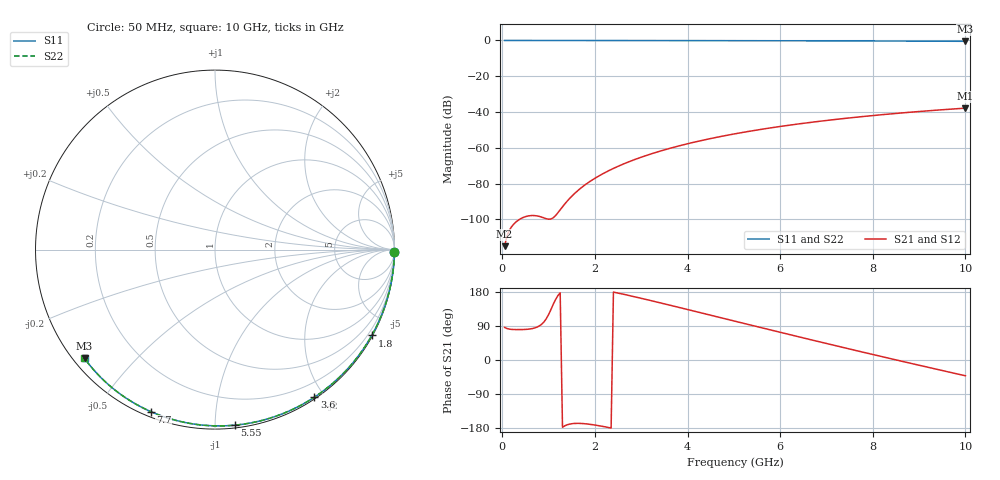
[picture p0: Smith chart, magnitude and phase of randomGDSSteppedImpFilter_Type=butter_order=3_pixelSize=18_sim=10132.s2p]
! freq	dB(S11)	phase(S11)	dB(S12)	phase(S12)
!  dB(S21)	phase(S21)	dB(S22)	phase(S22)
!S-par simulation data
#  GHz  S  DB  R 50
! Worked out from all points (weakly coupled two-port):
!   200 points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, 50 MHz to 10 GHz, reference 50 ohm
!   highest |S21| = -37.80 dB at 10 GHz (marker M1); lowest = -114.9 dB at 50 MHz (marker M2)
!   lowest |S11| = -0.5 dB at 10 GHz (marker M3), VSWR 36.45, Z = 1.55 - j18.1 ohm
!   |S11| at or under -10 dB: nowhere
!   |S22| runs from -0.5 to 0.0 dB; largest |S21 - S12| = 0
!   S11 on the Smith chart (normalised r, x): 50 MHz: open; 1.8 GHz: 0.03, -3.91; 3.6 GHz: 0.02, -1.88; 5.55 GHz: 0.02, -1.12; 7.7 GHz: 0.02, -0.68; 10 GHz: 0.03, -0.36
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0.05  -0.00 -0.8  -114.90 86.0  -114.90 86.0  -0.00 -0.8
0.45  -0.01 -7.3  -98.88 80.4  -98.88 80.4  -0.01 -7.3
0.9  -0.02 -14.5  -99.12 100.5  -99.12 100.5  -0.02 -14.5
1.75  -0.04 -27.9  -81.37 -167.8  -81.37 -167.8  -0.04 -27.9
1.8  -0.04 -28.7  -80.41 -168.4  -80.41 -168.4  -0.04 -28.7
1.85  -0.04 -29.5  -79.50 -169.1  -79.50 -169.1  -0.04 -29.5
2.05  -0.04 -32.6  -76.21 -172.6  -76.21 -172.6  -0.04 -32.6
2.2  -0.04 -34.9  -74.05 -175.9  -74.05 -175.9  -0.04 -35.0
2.55  -0.05 -40.3  -69.72 175.3  -69.72 175.3  -0.05 -40.3
2.95  -0.06 -46.4  -65.66 164.2  -65.66 164.2  -0.06 -46.4
3.4  -0.07 -53.1  -61.87 151.2  -61.87 151.2  -0.07 -53.1
3.6  -0.08 -56.1  -60.38 145.2  -60.38 145.2  -0.08 -56.1
3.9  -0.08 -60.5  -58.33 136.3  -58.33 136.3  -0.08 -60.5
4.3  -0.09 -66.2  -55.89 124.2  -55.89 124.2  -0.09 -66.3
5.05  -0.12 -76.8  -52.01 101.6  -52.01 101.6  -0.12 -76.8
5.55  -0.14 -83.7  -49.81 86.6  -49.81 86.6  -0.14 -83.7
6.1  -0.16 -91.0  -47.68 70.1  -47.68 70.1  -0.16 -91.1
6.7  -0.19 -98.9  -45.62 52.4  -45.62 52.4  -0.19 -99.0
7.7  -0.26 -111.7  -42.71 23.2  -42.71 23.2  -0.26 -111.8
8.35  -0.31 -119.8  -41.10 4.5  -41.10 4.5  -0.31 -119.9
9.2  -0.39 -130.3  -39.28 -19.4  -39.28 -19.4  -0.39 -130.4
10  -0.48 -140.2  -37.80 -41.6  -37.80 -41.6  -0.48 -140.3
